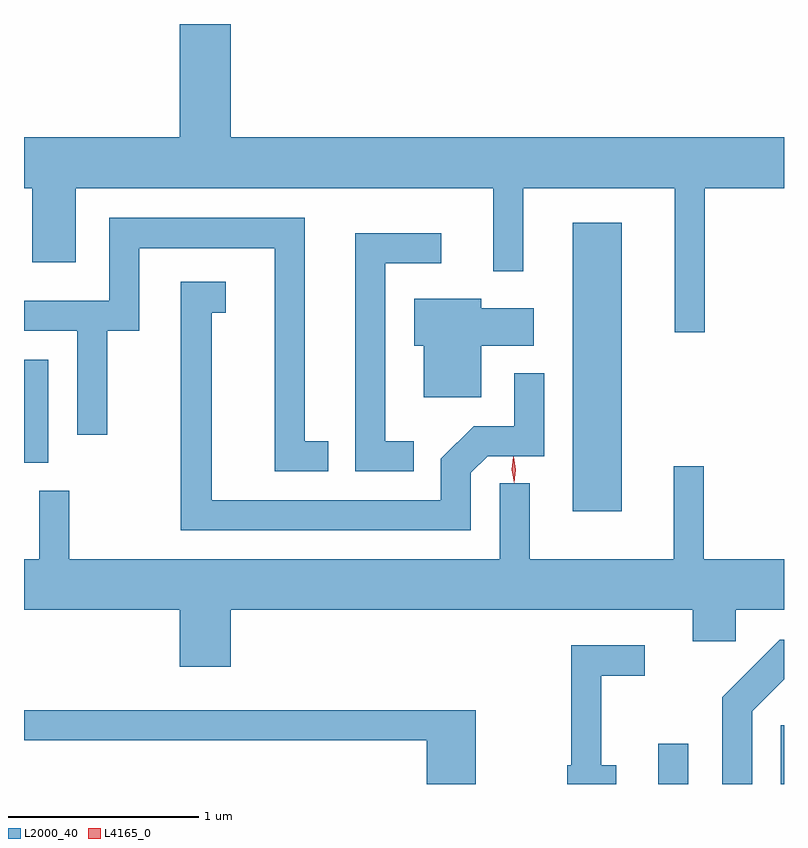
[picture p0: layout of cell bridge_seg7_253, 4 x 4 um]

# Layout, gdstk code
import gdstk
lib = gdstk.Library(unit=1e-6, precision=1e-09)
def R(c, l, rs):  # rectangles x0, y0, x1, y1
    for r in rs: c.add(gdstk.rectangle(r[:2], r[2:], *l))
def P(c, l, *ps):  # polygons
    for p in ps: c.add(gdstk.Polygon(p, *l))
L2000_40 = (2000, 40)
L4165_0 = (4165, 0)

bridge_seg7_253 = lib.new_cell('bridge_seg7_253')
R(bridge_seg7_253, L2000_40, [(1796.016,1720.06,1796.174,1720.273), (1796.661,1720.06,1796.677,1720.369), (1795.566,1721.496,1795.824,1723.014), (1792.677,1721.751,1792.804,1722.294)])
P(bridge_seg7_253, L2000_40, [(1796.259,1723.196),(1796.677,1723.196),(1796.677,1723.464),(1793.764,1723.464),(1793.764,1724.06),(1793.496,1724.06),(1793.496,1723.464),(1792.677,1723.464),(1792.677,1723.196),(1792.721,1723.196),(1792.721,1722.806),(1792.949,1722.806),(1792.949,1723.196),(1795.146,1723.196),(1795.146,1722.758),(1795.304,1722.758),(1795.304,1723.196),(1796.101,1723.196),(1796.101,1722.438),(1796.259,1722.438)],
  [(1794.278,1721.864),(1794.154,1721.864),(1794.154,1723.039),(1793.126,1723.039),(1793.126,1722.604),(1792.677,1722.604),(1792.677,1722.446),(1792.956,1722.446),(1792.956,1721.898),(1793.114,1721.898),(1793.114,1722.446),(1793.284,1722.446),(1793.284,1722.881),(1793.996,1722.881),(1793.996,1721.706),(1794.278,1721.706)],
  [(1794.728,1721.864),(1794.579,1721.864),(1794.579,1722.801),(1794.873,1722.801),(1794.873,1722.959),(1794.421,1722.959),(1794.421,1721.706),(1794.728,1721.706)],
  [(1795.029,1721.699),(1795.117,1721.786),(1795.414,1721.786),(1795.414,1722.223),(1795.256,1722.223),(1795.256,1721.944),(1795.044,1721.944),(1794.871,1721.772),(1794.871,1721.554),(1793.664,1721.554),(1793.664,1722.541),(1793.738,1722.541),(1793.738,1722.704),(1793.501,1722.704),(1793.501,1721.396),(1795.029,1721.396)],
  [(1795.084,1722.366),(1795.359,1722.366),(1795.359,1722.564),(1795.084,1722.564),(1795.084,1722.614),(1794.731,1722.614),(1794.731,1722.366),(1794.781,1722.366),(1794.781,1722.096),(1795.084,1722.096)],
  [(1793.764,1720.976),(1796.196,1720.976),(1796.196,1720.811),(1796.424,1720.811),(1796.424,1720.976),(1796.677,1720.976),(1796.677,1721.244),(1796.254,1721.244),(1796.254,1721.733),(1796.096,1721.733),(1796.096,1721.244),(1795.339,1721.244),(1795.339,1721.643),(1795.181,1721.643),(1795.181,1721.244),(1792.914,1721.244),(1792.914,1721.603),(1792.756,1721.603),(1792.756,1721.244),(1792.677,1721.244),(1792.677,1720.976),(1793.496,1720.976),(1793.496,1720.676),(1793.764,1720.676)],
  [(1796.509,1720.444),(1796.677,1720.611),(1796.677,1720.819),(1796.654,1720.819),(1796.351,1720.517),(1796.351,1720.06),(1796.509,1720.06)],
  [(1795.794,1720.159),(1795.714,1720.159),(1795.714,1720.631),(1795.943,1720.631),(1795.943,1720.789),(1795.556,1720.789),(1795.556,1720.159),(1795.536,1720.159),(1795.536,1720.06),(1795.794,1720.06)],
  [(1795.054,1720.449),(1792.677,1720.449),(1792.677,1720.291),(1794.796,1720.291),(1794.796,1720.06),(1795.054,1720.06)])
P(bridge_seg7_253, L4165_0, [(1795.257,1721.647),(1795.256,1721.648),(1795.245,1721.714),(1795.254,1721.78),(1795.254,1721.781),(1795.255,1721.78),(1795.265,1721.714),(1795.257,1721.648)],
  [(1795.256,1721.644),(1795.256,1721.645),(1795.245,1721.713),(1795.253,1721.783),(1795.254,1721.783),(1795.254,1721.783),(1795.265,1721.714),(1795.257,1721.645)])

lib.write_gds('bridge_seg7_253.gds')
